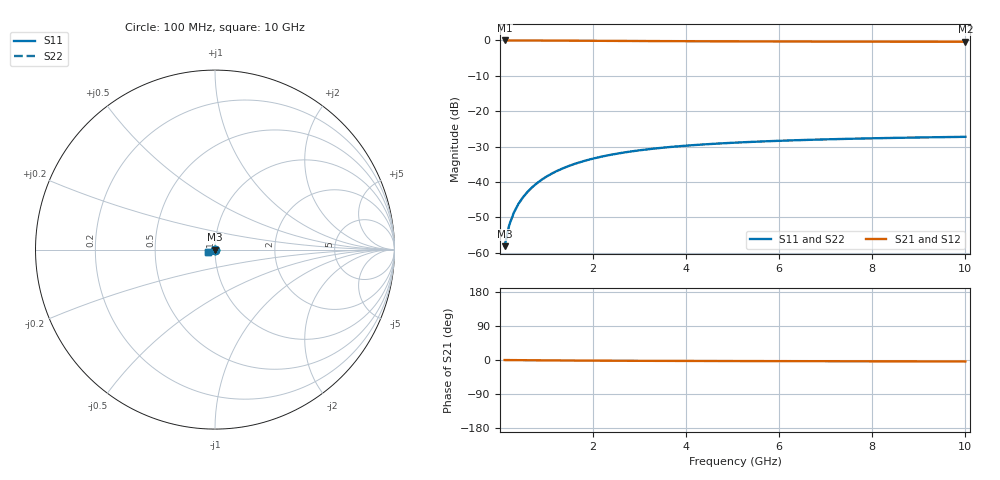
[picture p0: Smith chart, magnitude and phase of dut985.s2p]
! Touchstone file exported from HFSS 2024.1.0
!  File:  C:/UserFiles/LocalFiles/RDL_TSV_Batchsim/temp_TSV1_985_1779952406.aedt
!  Generated:  03:17:21 PM May 28, 2026
!  Design:  TSV1
!  Project:  temp_TSV1_985_1779952406
!  Setup:  Setup1
!  Solution:  Sweep
! Variables:
!  dtsv = 13.94um
!  hbump = 3um
!  htsv = 56.15um
!  lrdl = 252.1521522um
!  p = 40
!  p1 = 48.26um
!  t = 500um
!  trdl = 3um
!  wrdl = 24.89489489um
# GHz S MA R 50.000000
! Terminal data exported
! Port[1] = TSV22_T1
! Port[2] = TSV22_T2
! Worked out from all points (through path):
!   100 points, 100 MHz to 10 GHz, reference 50 ohm
!   highest |S21| = 0.00 dB at 100 MHz (marker M1); lowest = -0.4 dB at 10 GHz (marker M2)
!   lowest |S11| = -58.2 dB at 100 MHz (marker M3), VSWR 1.00, Z = 50 - j0.123 ohm
!   |S11| at or under -10 dB: start of sweep to end of sweep
!   |S22| runs from -58.2 to -27.3 dB; largest |S21 - S12| = 3.3e-15
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0.1  0.001233 -88.4  0.9999 -0.1  0.9999 -0.1  0.001233 -88.4
! Gamma 0 0 0 0
! Port Impedance 50 0 50 0
0.2  0.002464 -91.9  0.9998 -0.2  0.9998 -0.2  0.002464 -91.9
0.3  0.003692 -94.1  0.9996 -0.3  0.9996 -0.3  0.003692 -94.1
0.4  0.004913 -96.1  0.9993 -0.4  0.9993 -0.4  0.004913 -96.1
0.5  0.006122 -97.9  0.999 -0.5  0.999 -0.5  0.006122 -97.9
0.6  0.007316 -99.6  0.9986 -0.6  0.9986 -0.6  0.007316 -99.6
0.7  0.008491 -101.3  0.9981 -0.7  0.9981 -0.7  0.008491 -101.3
0.8  0.009645 -102.9  0.9976 -0.8  0.9976 -0.8  0.009645 -102.9
0.9  0.01078 -104.5  0.9971 -0.9  0.9971 -0.9  0.01078 -104.5
1.1  0.01296 -107.6  0.9958 -1.1  0.9958 -1.1  0.01296 -107.6
1.4  0.01602 -112.0  0.9937 -1.3  0.9937 -1.3  0.01602 -112.0
1.6  0.01792 -114.7  0.9922 -1.4  0.9922 -1.4  0.01792 -114.7
1.8  0.01969 -117.4  0.9907 -1.6  0.9907 -1.6  0.01969 -117.4
2.1  0.02212 -121.0  0.9884 -1.7  0.9884 -1.7  0.02212 -121.0
2.5  0.02496 -125.5  0.9853 -1.9  0.9853 -1.9  0.02496 -125.5
2.9  0.02741 -129.4  0.9825 -2.1  0.9825 -2.1  0.02741 -129.4
3.4  0.02998 -133.7  0.9792 -2.3  0.9792 -2.3  0.02998 -133.7
4.2  0.03324 -139.4  0.9747 -2.5  0.9747 -2.5  0.03324 -139.4
5.1  0.036 -144.6  0.9705 -2.8  0.9705 -2.8  0.036 -144.6
6.7  0.03942 -151.6  0.9651 -3.1  0.9651 -3.1  0.03942 -151.6
8.4  0.04181 -157.1  0.9611 -3.5  0.9611 -3.5  0.04181 -157.1
10  0.04336 -161.3  0.9585 -3.9  0.9585 -3.9  0.04336 -161.3
